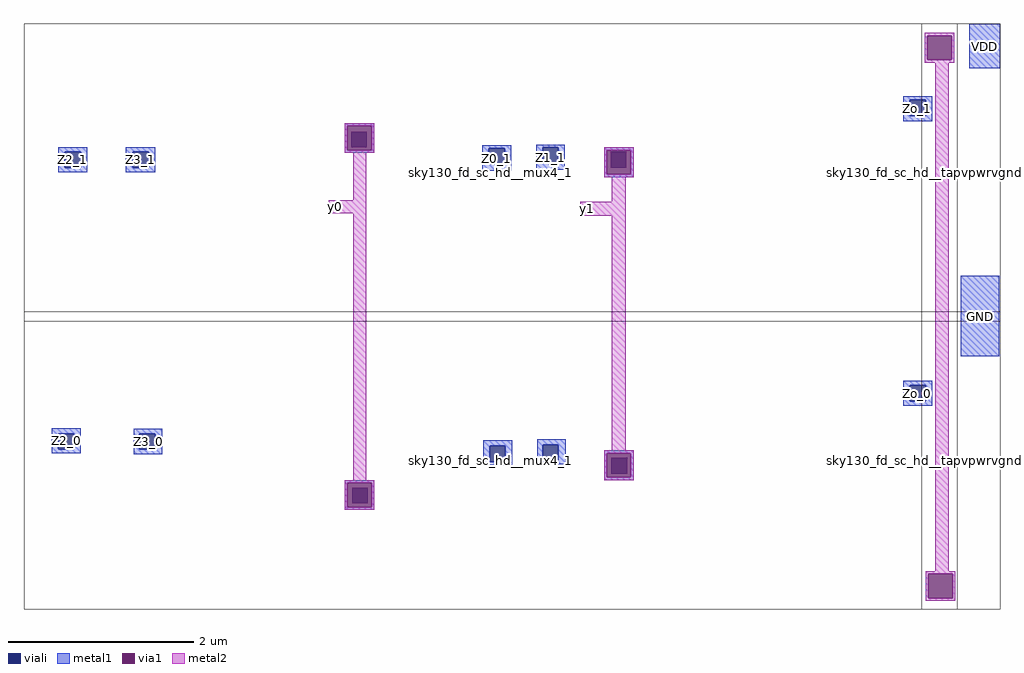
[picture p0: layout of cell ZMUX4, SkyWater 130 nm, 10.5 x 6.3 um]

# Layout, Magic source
magic
tech sky130B
magscale 1 2
<< viali >>
rect 1808 358 1842 392
rect 606 290 640 324
rect -10 246 24 280
rect 136 246 170 280
rect 902 254 936 288
rect 1018 256 1052 290
rect 1164 246 1198 280
rect 1808 -256 1842 -222
rect -24 -360 10 -326
rect 150 -360 184 -326
rect 904 -386 938 -352
rect 1018 -384 1052 -350
rect 1166 -412 1200 -378
rect 608 -476 642 -442
<< metal1 >>
rect 1936 460 2002 556
rect 1794 392 1856 400
rect 1794 358 1808 392
rect 1842 358 1856 392
rect 1794 346 1856 358
rect 592 336 656 342
rect -24 280 38 290
rect -24 246 -10 280
rect 24 246 38 280
rect -24 236 38 246
rect 121 280 184 290
rect 121 246 136 280
rect 170 246 184 280
rect 592 284 598 336
rect 650 284 656 336
rect 592 278 656 284
rect 888 288 950 294
rect 121 236 184 246
rect 888 254 902 288
rect 936 254 950 288
rect 888 240 950 254
rect 1004 290 1066 296
rect 1004 256 1018 290
rect 1052 256 1066 290
rect 1004 242 1066 256
rect 1150 284 1214 290
rect 1150 232 1156 284
rect 1208 232 1214 284
rect 1150 226 1214 232
rect 1918 -160 2000 14
rect 1794 -222 1856 -212
rect 1794 -256 1808 -222
rect 1842 -256 1856 -222
rect 1794 -266 1856 -256
rect -38 -326 24 -314
rect -38 -360 -24 -326
rect 10 -360 24 -326
rect -38 -368 24 -360
rect 138 -326 200 -316
rect 138 -360 150 -326
rect 184 -360 200 -326
rect 138 -370 200 -360
rect 890 -352 952 -340
rect 890 -386 904 -352
rect 938 -386 952 -352
rect 890 -394 952 -386
rect 1006 -350 1068 -338
rect 1006 -384 1018 -350
rect 1052 -384 1068 -350
rect 1006 -392 1068 -384
rect 1150 -368 1214 -362
rect 1150 -420 1156 -368
rect 1208 -420 1214 -368
rect 1150 -426 1214 -420
rect 592 -432 656 -426
rect 592 -484 598 -432
rect 650 -484 656 -432
rect 592 -490 656 -484
<< via1 >>
rect 1846 478 1898 530
rect 598 324 650 336
rect 598 290 606 324
rect 606 290 640 324
rect 640 290 650 324
rect 598 284 650 290
rect 1156 280 1208 284
rect 1156 246 1164 280
rect 1164 246 1198 280
rect 1198 246 1208 280
rect 1156 232 1208 246
rect 1156 -378 1208 -368
rect 1156 -412 1166 -378
rect 1166 -412 1200 -378
rect 1200 -412 1208 -378
rect 1156 -420 1208 -412
rect 598 -442 650 -432
rect 598 -476 608 -442
rect 608 -476 642 -442
rect 642 -476 650 -442
rect 598 -484 650 -476
rect 1848 -680 1900 -628
<< metal2 >>
rect 1840 530 1904 536
rect 1840 478 1846 530
rect 1898 478 1904 530
rect 1840 472 1904 478
rect 592 336 656 342
rect 592 284 598 336
rect 650 284 656 336
rect 592 278 656 284
rect 1150 284 1214 290
rect 610 176 638 278
rect 1150 232 1156 284
rect 1208 232 1214 284
rect 1150 226 1214 232
rect 558 148 638 176
rect 1167 173 1197 226
rect 610 -426 638 148
rect 1099 143 1197 173
rect 1167 -362 1197 143
rect 1150 -368 1214 -362
rect 1150 -420 1156 -368
rect 1208 -420 1214 -368
rect 1150 -426 1214 -420
rect 592 -432 656 -426
rect 592 -484 598 -432
rect 650 -484 656 -432
rect 592 -490 656 -484
rect 1863 -622 1892 472
rect 1842 -628 1906 -622
rect 1842 -680 1848 -628
rect 1900 -680 1906 -628
rect 1842 -686 1906 -680
use sky130_fd_sc_hd__mux4_1  sky130_fd_sc_hd__mux4_1_0 $PDK_ROOT/sky130B/libs.ref/sky130_fd_sc_hd/mag
transform 1 0 -60 0 1 -36
box -38 -48 1970 592
use sky130_fd_sc_hd__mux4_1  sky130_fd_sc_hd__mux4_1_1
transform 1 0 -60 0 -1 -112
box -38 -48 1970 592
use sky130_fd_sc_hd__tapvpwrvgnd_1  sky130_fd_sc_hd__tapvpwrvgnd_1_0 $PDK_ROOT/sky130B/libs.ref/sky130_fd_sc_hd/mag
transform 1 0 1872 0 1 -36
box -38 -48 130 592
use sky130_fd_sc_hd__tapvpwrvgnd_1  sky130_fd_sc_hd__tapvpwrvgnd_1_1
transform 1 0 1872 0 -1 -112
box -38 -48 130 592
<< labels >>
rlabel metal1 1936 460 2002 556 1 VDD
port 1 n
rlabel metal1 1918 -160 2000 14 1 GND
port 2 n
rlabel metal1 121 236 184 290 1 Z3_1
port 5 n
rlabel metal1 -24 236 38 290 1 Z2_1
port 6 n
rlabel metal1 1004 242 1066 296 1 Z1_1
port 7 n
rlabel metal1 888 240 950 294 1 Z0_1
port 8 n
rlabel metal2 1099 143 1129 173 1 y1
port 9 n
rlabel metal2 558 148 586 176 1 y0
port 10 n
rlabel metal1 138 -370 200 -316 1 Z3_0
port 11 n
rlabel metal1 -38 -368 24 -314 1 Z2_0
port 12 n
rlabel metal1 1006 -392 1068 -338 1 Z1_0
port 13 n
rlabel metal1 890 -394 952 -340 1 Z0_0
port 14 n
rlabel metal1 1794 346 1856 400 1 Zo_1
port 15 n
rlabel metal1 1794 -266 1856 -212 1 Zo_0
port 16 n
<< end >>
